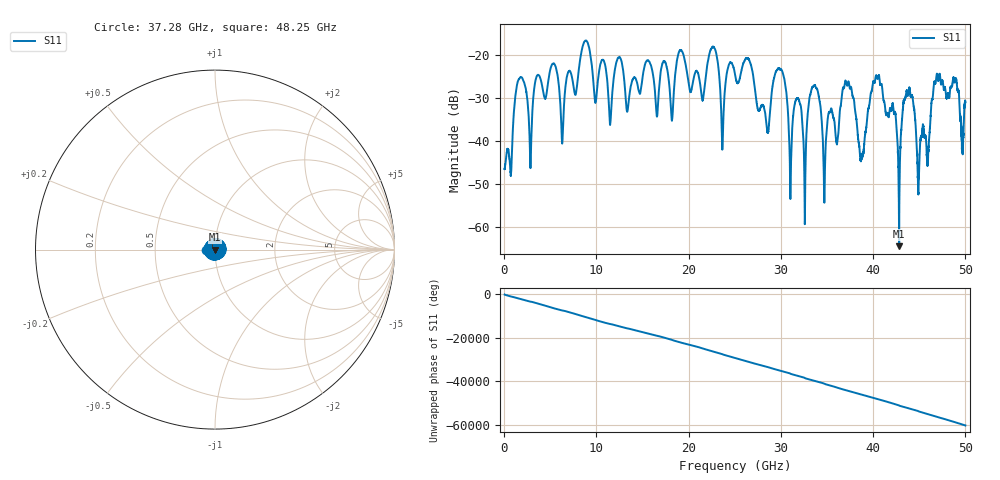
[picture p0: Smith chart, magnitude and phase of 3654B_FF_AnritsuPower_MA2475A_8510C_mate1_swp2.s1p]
!Created with skrf (http://scikit-rf.org).
# Hz S RI R 50.0
!freq ReS11 ImS11
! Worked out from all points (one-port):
!   10001 points, 45 MHz to 50 GHz, reference 50 ohm
!   lowest |S11| = -64.5 dB at 42.82 GHz (marker M1), VSWR 1.00, Z = 50 - j0.0425 ohm
!   |S11| at or under -10 dB: start of sweep to end of sweep
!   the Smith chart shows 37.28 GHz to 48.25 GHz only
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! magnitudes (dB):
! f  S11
! 45 MHz  -46.6
! 1.713 GHz  -25.4
! 2.837 GHz  -46.2
! 5.41 GHz  -22.1
! 6.289 GHz  -40.7
! 8.742 GHz  -16.8
! 11.49 GHz  -36.3
! 12.53 GHz  -20.6
! 18.17 GHz  -35.1
! 18.78 GHz  -20.7
! 22.74 GHz  -18.3
! 23.67 GHz  -41.6
! 25.02 GHz  -24.6
! 28.55 GHz  -38.2
! 29.95 GHz  -23.5
! 31.27 GHz  -35.8
! 31.93 GHz  -30.4
! 32.62 GHz  -55.0
! 33.72 GHz  -27.2
! 34.74 GHz  -50.5
! 37.51 GHz  -27.8
! 38.76 GHz  -44.3
! 40.5 GHz  -25.5
! 42.82 GHz  -64.5
! 43.76 GHz  -29.5
! 44.92 GHz  -51.6
! 47.02 GHz  -25.8
! 50 GHz  -30.9
